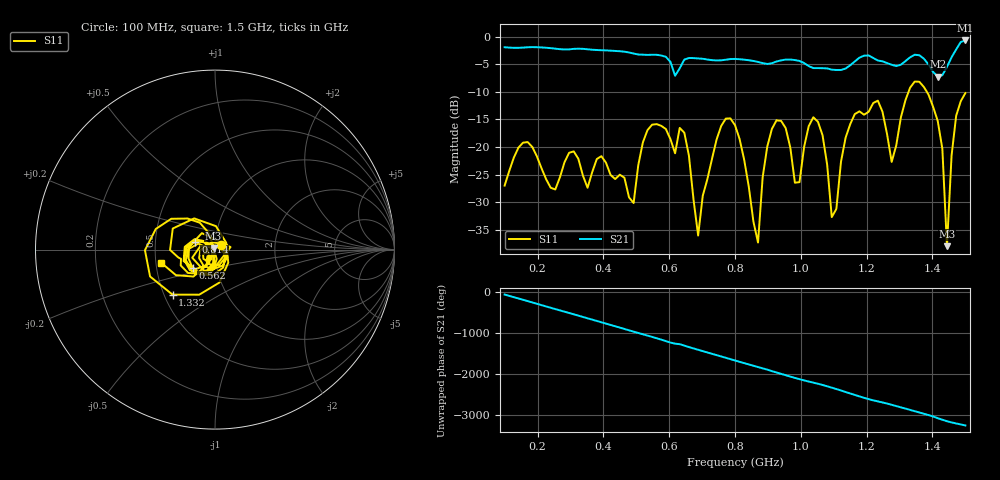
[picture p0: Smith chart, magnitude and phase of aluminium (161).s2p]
! NanoVNA-App
! Date: 2025-09-25 14:56:32
! Start: 100MHz Stop: 1,5GHz Points: 101
! S-Parameter data: F S11 S21 S12 S22
# Hz S RI R 50
!  Frequency  S11_Real  S11_Imag  S21_Real  S21_Imag  S12_Real  S12_Imag  S22_Real  S22_Imag
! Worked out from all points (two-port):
!   101 points, 100 MHz to 1.5 GHz, reference 50 ohm
!   highest |S21| = -0.69 dB at 1.5 GHz (marker M1); lowest = -7.2 dB at 1.416 GHz (marker M2)
!   |S21| within 3 dB of the highest: start of sweep to 590.5 MHz; 1.459 GHz to end of sweep (the widest 2 of 4)
!   lowest |S11| = -38.0 dB at 1.444 GHz (marker M3), VSWR 1.03, Z = 49.2 + j0.943 ohm
!   |S11| at or under -10 dB: start of sweep to 1.327 GHz; 1.383 GHz to end of sweep
!   S12 and S22 are empty: the file has one direction only
!   S11 on the Smith chart (normalised r, x): 100 MHz: 1.07, +0.06; 562 MHz: 0.76, -0.16; 814 MHz: 0.80, +0.07; 1.332 GHz: 0.55, -0.32; 1.5 GHz: 0.53, -0.09
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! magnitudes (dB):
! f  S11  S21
! 100 MHz  -27.0  -1.9
! 338 MHz  -25.2  -2.2
! 492 MHz  -30.2  -3.1
! 562 MHz  -15.9  -3.3
! 576 MHz  -16.2  -3.4
! 646 MHz  -17.4  -4.2
! 688 MHz  -36.0  -4.0
! 800 MHz  -16.0  -4.0
! 814 MHz  -18.6  -4.1
! 870 MHz  -37.3  -4.6
! 912 MHz  -16.7  -4.8
! 996 MHz  -26.4  -4.4
! 1.038 GHz  -14.6  -5.7
! 1.094 GHz  -32.7  -6.0
! 1.164 GHz  -14.0  -4.5
! 1.234 GHz  -11.6  -4.3
! 1.276 GHz  -22.7  -5.1
! 1.332 GHz  -9.2  -3.7
! 1.416 GHz  -15.3  -7.2
! 1.444 GHz  -38.0  -5.5
! 1.472 GHz  -14.3  -2.3
! 1.5 GHz  -10.2  -0.7
